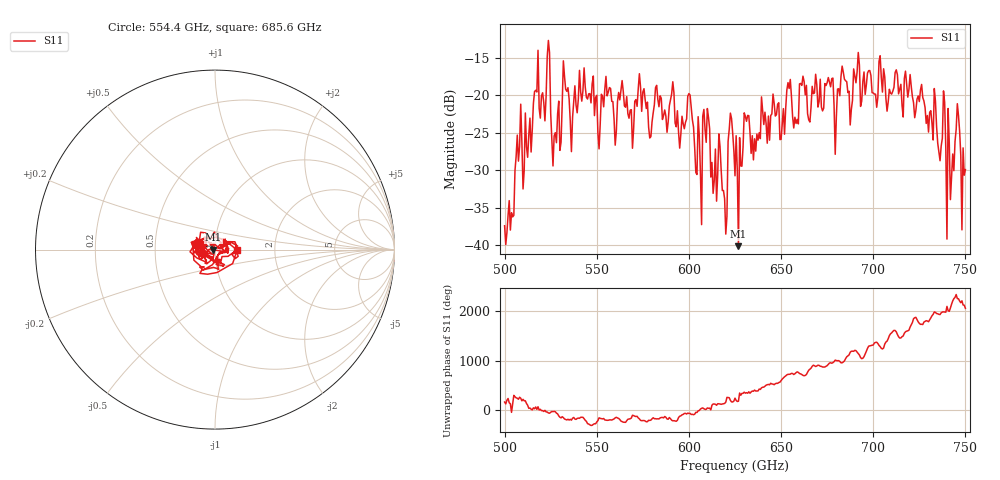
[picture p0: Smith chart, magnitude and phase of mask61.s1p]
!Created with skrf (http://scikit-rf.org).
# GHz S MA R 50.0
!freq magS11 angS11
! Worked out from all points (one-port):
!   401 points, 500 GHz to 750 GHz, reference 50 ohm
!   lowest |S11| = -40.1 dB at 626.9 GHz (marker M1), VSWR 1.02, Z = 49 - j0.0463 ohm
!   |S11| at or under -10 dB: start of sweep to end of sweep
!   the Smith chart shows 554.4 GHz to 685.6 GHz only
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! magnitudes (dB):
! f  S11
! 500 GHz  -37.4
! 516.9 GHz  -19.3
! 523.8 GHz  -12.7
! 526.9 GHz  -25.4
! 531.2 GHz  -21.2
! 562.5 GHz  -20.6
! 579.4 GHz  -25.5
! 590.6 GHz  -19.8
! 593.8 GHz  -22.0
! 600.6 GHz  -20.0
! 605.6 GHz  -25.4
! 609.4 GHz  -26.3
! 619.4 GHz  -33.8
! 622.5 GHz  -22.4
! 625 GHz  -30.7
! 626.9 GHz  -40.1
! 631.2 GHz  -23.5
! 635 GHz  -28.6
! 656.2 GHz  -22.8
! 680 GHz  -22.8
! 683.8 GHz  -16.9
! 687.5 GHz  -23.9
! 691.2 GHz  -16.9
! 718.8 GHz  -20.2
! 738.1 GHz  -19.4
! 741.2 GHz  -26.3
! 745.6 GHz  -21.1
! 750 GHz  -29.9
